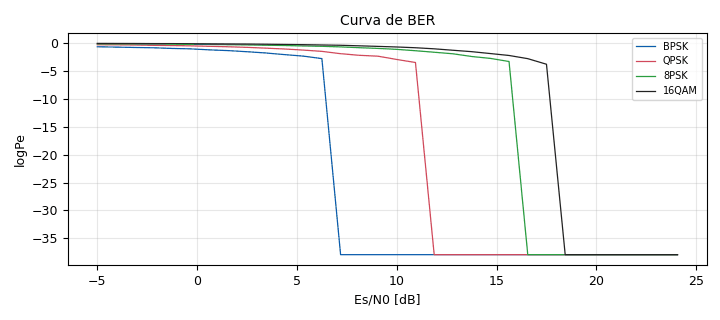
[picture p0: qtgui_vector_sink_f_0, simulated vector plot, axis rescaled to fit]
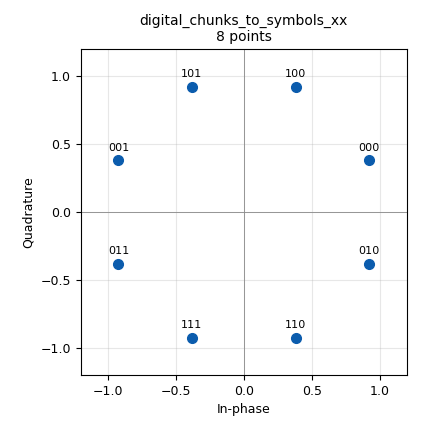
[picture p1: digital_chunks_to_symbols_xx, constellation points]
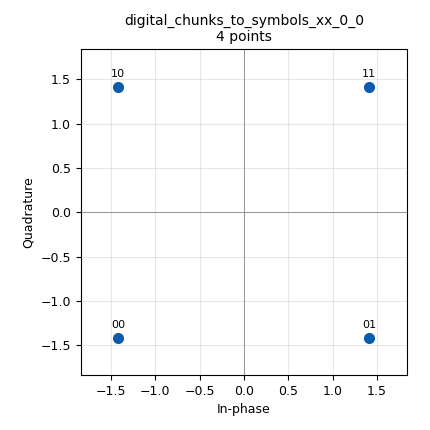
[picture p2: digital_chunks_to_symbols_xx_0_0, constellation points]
options:
  parameters:
    author: Homero Ortega Boada
    category: Custom
    description: Dale un valor a Es/No, corre el flujograma y obten la SER. Puedes sacar tantos valores como para construir una curva de SER
    generate_options: qt_gui
    id: ser_simulation
    output_language: python
    run: run_stop
    title: SER Simulation
  states: {}

blocks:
- name: EsN0max
  id: variable
  parameters:
    value: '25.'
  states: {}
- name: EsN0min
  id: variable
  parameters:
    value: '-5.'
  states: {}
- name: M0
  id: variable
  parameters:
    value: len(const0)
  states: {}
- name: M1
  id: variable
  parameters:
    value: len(const1)
  states: {}
- name: M2
  id: variable
  parameters:
    value: len(const2)
  states: {}
- name: M3
  id: variable
  parameters:
    value: len(const3)
  states: {}
- name: MaxCount
  id: variable
  parameters:
    value: int(1e7)
  states: {}
- name: MaxErrors
  id: variable
  parameters:
    value: '1000'
  states: {}
- name: MiconstellationObject0
  id: variable_constellation
  parameters:
    const_points: const0
    dims: '1'
    normalization: digital.constellation.AMPLITUDE_NORMALIZATION
    precision: '8'
    rot_sym: '4'
    sym_map: np.arange(M0)
    type: calcdist
  states: {}
- name: MiconstellationObject1
  id: variable_constellation
  parameters:
    const_points: const1
    dims: '1'
    normalization: digital.constellation.AMPLITUDE_NORMALIZATION
    precision: '8'
    rot_sym: '4'
    sym_map: np.arange(M1)
    type: calcdist
  states: {}
- name: MiconstellationObject2
  id: variable_constellation
  parameters:
    const_points: const2
    dims: '1'
    normalization: digital.constellation.AMPLITUDE_NORMALIZATION
    precision: '8'
    rot_sym: '4'
    sym_map: np.arange(M2)
    type: calcdist
  states: {}
- name: MiconstellationObject3
  id: variable_constellation
  parameters:
    const_points: const3
    dims: '1'
    normalization: digital.constellation.AMPLITUDE_NORMALIZATION
    precision: '8'
    rot_sym: '4'
    sym_map: np.arange(M3)
    type: calcdist
  states: {}
- name: N_snr
  id: variable
  parameters:
    value: '32'
  states: {}
- name: Rs
  id: variable
  parameters:
    value: samp_rate/Sps
  states: {}
- name: Sps
  id: variable
  parameters:
    value: '1'
  states: {}
- name: const
  id: variable
  parameters:
    value: digital.constellation_bpsk().points()
  states: {state: disabled}
- name: const
  id: variable
  parameters:
    value: digital.qam_constellation(16).points()
  states: {state: disabled}
- name: const0
  id: variable
  parameters:
    value: digital.constellation_bpsk().points()
  states: {}
- name: const1
  id: variable
  parameters:
    value: digital.constellation_qpsk().points()
  states: {}
- name: const2
  id: variable
  parameters:
    value: digital.constellation_8psk().points()
  states: {}
- name: const3
  id: variable
  parameters:
    value: digital.qam_constellation(16).points()
  states: {}
- name: run_stop
  id: variable_qtgui_check_box
  parameters:
    'false': 'False'
    gui_hint: 0,0,1,1
    label: Inicial/Parar
    'true': 'True'
    type: int
    value: 'True'
  states: {}
- name: samp_rate
  id: variable
  parameters:
    value: 100e3
  states: {}
- name: analog_random_source_x
  id: analog_random_source_x
  parameters:
    max: M2
    min: '0'
    num_samps: '10000000'
    repeat: 'True'
    type: byte
  states: {}
- name: analog_random_source_x_0
  id: analog_random_source_x
  parameters:
    max: M3
    min: '0'
    num_samps: '10000000'
    repeat: 'True'
    type: byte
  states: {}
- name: analog_random_source_x_0_0
  id: analog_random_source_x
  parameters:
    max: M1
    min: '0'
    num_samps: '10000000'
    repeat: 'True'
    type: byte
  states: {}
- name: analog_random_source_x_1
  id: analog_random_source_x
  parameters:
    max: M0
    min: '0'
    num_samps: '10000000'
    repeat: 'True'
    type: byte
  states: {}
- name: blocks_nlog10_ff_0
  id: blocks_nlog10_ff
  parameters:
    k: '0'
    n: '1'
    vlen: N_snr
  states: {}
- name: blocks_nlog10_ff_0_0
  id: blocks_nlog10_ff
  parameters:
    k: '0'
    n: '1'
    vlen: N_snr
  states: {}
- name: blocks_nlog10_ff_0_1
  id: blocks_nlog10_ff
  parameters:
    k: '0'
    n: '1'
    vlen: N_snr
  states: {}
- name: blocks_nlog10_ff_0_2
  id: blocks_nlog10_ff
  parameters:
    k: '0'
    n: '1'
    vlen: N_snr
  states: {}
- name: blocks_stream_to_vector_0
  id: blocks_stream_to_vector
  parameters:
    num_items: N_snr
    type: complex
  states: {}
- name: blocks_stream_to_vector_0_0
  id: blocks_stream_to_vector
  parameters:
    num_items: N_snr
    type: complex
  states: {}
- name: blocks_stream_to_vector_0_0_0
  id: blocks_stream_to_vector
  parameters:
    num_items: N_snr
    type: complex
  states: {}
- name: blocks_stream_to_vector_0_1
  id: blocks_stream_to_vector
  parameters:
    num_items: N_snr
    type: complex
  states: {}
- name: blocks_stream_to_vector_0_1_0
  id: blocks_stream_to_vector
  parameters:
    num_items: N_snr
    type: byte
  states: {}
- name: blocks_stream_to_vector_0_1_0_0
  id: blocks_stream_to_vector
  parameters:
    num_items: N_snr
    type: byte
  states: {}
- name: blocks_stream_to_vector_0_1_0_1
  id: blocks_stream_to_vector
  parameters:
    num_items: N_snr
    type: byte
  states: {}
- name: blocks_stream_to_vector_0_1_0_2
  id: blocks_stream_to_vector
  parameters:
    num_items: N_snr
    type: byte
  states: {}
- name: blocks_stream_to_vector_0_1_1
  id: blocks_stream_to_vector
  parameters:
    num_items: N_snr
    type: byte
  states: {}
- name: blocks_stream_to_vector_0_1_1_0
  id: blocks_stream_to_vector
  parameters:
    num_items: N_snr
    type: byte
  states: {}
- name: blocks_stream_to_vector_0_1_1_1
  id: blocks_stream_to_vector
  parameters:
    num_items: N_snr
    type: byte
  states: {}
- name: blocks_stream_to_vector_0_1_1_2
  id: blocks_stream_to_vector
  parameters:
    num_items: N_snr
    type: byte
  states: {}
- name: blocks_vector_to_stream_0
  id: blocks_vector_to_stream
  parameters:
    num_items: N_snr
    type: complex
  states: {}
- name: blocks_vector_to_stream_0_0
  id: blocks_vector_to_stream
  parameters:
    num_items: N_snr
    type: complex
  states: {}
- name: blocks_vector_to_stream_0_1
  id: blocks_vector_to_stream
  parameters:
    num_items: N_snr
    type: complex
  states: {}
- name: blocks_vector_to_stream_0_2
  id: blocks_vector_to_stream
  parameters:
    num_items: N_snr
    type: complex
  states: {}
- name: digital_chunks_to_symbols_xx
  id: digital_chunks_to_symbols_xx
  parameters:
    dimension: '1'
    in_type: byte
    out_type: complex
    symbol_table: const2
  states: {}
- name: digital_chunks_to_symbols_xx_0
  id: digital_chunks_to_symbols_xx
  parameters:
    dimension: '1'
    in_type: byte
    out_type: complex
    symbol_table: const3
  states: {}
- name: digital_chunks_to_symbols_xx_0_0
  id: digital_chunks_to_symbols_xx
  parameters:
    dimension: '1'
    in_type: byte
    out_type: complex
    symbol_table: const1
  states: {}
- name: digital_chunks_to_symbols_xx_1
  id: digital_chunks_to_symbols_xx
  parameters:
    dimension: '1'
    in_type: byte
    out_type: complex
    symbol_table: const0
  states: {}
- name: digital_constellation_decoder_cb_0
  id: digital_constellation_decoder_cb
  parameters:
    constellation: MiconstellationObject3
  states: {}
- name: digital_constellation_decoder_cb_0_0
  id: digital_constellation_decoder_cb
  parameters:
    constellation: MiconstellationObject2
  states: {}
- name: digital_constellation_decoder_cb_0_0_0
  id: digital_constellation_decoder_cb
  parameters:
    constellation: MiconstellationObject0
  states: {}
- name: digital_constellation_decoder_cb_0_1
  id: digital_constellation_decoder_cb
  parameters:
    constellation: MiconstellationObject1
  states: {}
- name: epy_block_0
  id: epy_block
  parameters:
    EsN0max: EsN0max
    EsN0min: EsN0min
    N: N_snr
    Rs: Rs
    Sps: Sps
    _source_code: |
      """
      Embedded Python Blocks:

      Each time this file is saved, GRC will instantiate the first class it finds
      to get ports and parameters of your block. The arguments to __init__  will
      be the parameters. All of them are required to have default values!
      """

      import numpy as np
      import math
      from gnuradio import gr


      class blk(gr.sync_block):  # other base classes are basic_block, decim_block, interp_block
          """
      Es un canal AWGN (Additive White Gaussian Noise, en banda base), con entrada vectorial. Recibe la envolvente compleja de una senal con modulacion digital. Entrega la misma senal recibida pero con ruido blanco gausiano aditivo con diferentes valores de potencia que corresponden a N diferentes valores de Es/No entre EsNOmin y EsN0max (valores dados en dB). Este bloque se diferencia de otros bloques tradicionales de canal AWGN en lo siguiente: Tiene internamente una funcion que mide la potencia promedio de la senal entrante Ps, de modo que puede calcular Es=Ps/Rs; de esa manera puede N valores de potencia Pn para el ruido Pn para lograr los N valores de la relacion Es/No. Con esto ha completado el primer ensayo para que otro sea el bloque que calcule la Curva de SER. Pero alli no para, sino que sigue realizando tantos ensayos como lo permita el tiempo de simulacion, para que el bloque que calcula la Curva de BER la pueda ir perfeccionando cada vez mas.

      Datos de configuracion del bloque:
      N: Es la longitud del vector y coincide con el numero de puntos discretos que va a tener la curva de BER. Tambien corresponde al numero de valores que tomará la relacion Es/No
      EsN0min: El minimo valor a tener en cuenta para Es/No
      EsN0max: El maximo valor a tener en cuenta para Es/No
      Rs: es la rata de simbolos.
      Sps: El numero de muestras por simbolo. Usualmente es 1, pero pueden darse excepciones. 
      Es: es la energia de un simbolo

      Algunas variables internas son:
      No: es la Densidad espectral del potencia del ruido blanco.
      SNR: es la relacion senal a ruido
      """


          def __init__(self, N=32, EsN0min=0, EsN0max=16,Sps=1,Rs=1):  # only default arguments here
              """ """
              gr.sync_block.__init__(
                  self,
                  name='e_SER_Channel',   # will show up in GRC
                  in_sig=[(np.complex64,N)],
                  out_sig=[(np.complex64,N)]
              )
              samp_rate=Rs*Sps
              EsN0dB=np.linspace(EsN0min,EsN0max,N)
              EsN0=pow(10.,EsN0dB/10.) 
              self.SNR=EsN0*Rs/samp_rate
              
              
          def work(self, input_items, output_items):
              L=len(input_items[0]) # la entrada en una matrix de L filas y N columnas
              SNR_matrix=np.array([self.SNR]*L) # convertimos SNR a matrix
              P_s=np.mean(np.absolute(input_items[0])**2)  # La potencia de la senal
              P_n = P_s/SNR_matrix                    # la potencia del ruido
              output_items[0][:] = input_items[0]+noise_c(np.sqrt(P_n))
              #output_items[0][:] = input_items[0]*1.5
              return len(output_items[0])
              
      def noise_c(Vrms):
          # random.normal() pide la desviacion standard pero es el mismo Valor RMS
          # Vrms es el Valor RMS de la Envolvente compleja del ruido, pero la vamos
          # a generar como un ruido real mas un ruido imaginario. Pero esas dos
          # senales tienen un valor RMS un tanto diferente: Vrms_q=Vrms/math.sqrt(2.)
          Vrms_q= Vrms/math.sqrt(2.)
          n= np.random.normal(0.,Vrms_q)+np.random.normal(0.,Vrms_q)*1.j
          return n 
  states: {}
- name: epy_block_0_0
  id: epy_block
  parameters:
    EsN0max: EsN0max
    EsN0min: EsN0min
    N: N_snr
    Rs: Rs
    Sps: Sps
    _source_code: |
      """
      Embedded Python Blocks:

      Each time this file is saved, GRC will instantiate the first class it finds
      to get ports and parameters of your block. The arguments to __init__  will
      be the parameters. All of them are required to have default values!
      """

      import numpy as np
      import math
      from gnuradio import gr


      class blk(gr.sync_block):  # other base classes are basic_block, decim_block, interp_block
          """
      Es un canal AWGN (Additive White Gaussian Noise, en banda base), con entrada vectorial. Recibe la envolvente compleja de una senal con modulacion digital. Entrega la misma senal recibida pero con ruido blanco gausiano aditivo con diferentes valores de potencia que corresponden a N diferentes valores de Es/No entre EsNOmin y EsN0max (valores dados en dB). Este bloque se diferencia de otros bloques tradicionales de canal AWGN en lo siguiente: Tiene internamente una funcion que mide la potencia promedio de la senal entrante Ps, de modo que puede calcular Es=Ps/Rs; de esa manera puede N valores de potencia Pn para el ruido Pn para lograr los N valores de la relacion Es/No. Con esto ha completado el primer ensayo para que otro sea el bloque que calcule la Curva de SER. Pero alli no para, sino que sigue realizando tantos ensayos como lo permita el tiempo de simulacion, para que el bloque que calcula la Curva de BER la pueda ir perfeccionando cada vez mas.

      Datos de configuracion del bloque:
      N: Es la longitud del vector y coincide con el numero de puntos discretos que va a tener la curva de BER. Tambien corresponde al numero de valores que tomará la relacion Es/No
      EsN0min: El minimo valor a tener en cuenta para Es/No
      EsN0max: El maximo valor a tener en cuenta para Es/No
      Rs: es la rata de simbolos.
      Sps: El numero de muestras por simbolo. Usualmente es 1, pero pueden darse excepciones. 
      Es: es la energia de un simbolo

      Algunas variables internas son:
      No: es la Densidad espectral del potencia del ruido blanco.
      SNR: es la relacion senal a ruido
      """


          def __init__(self, N=32, EsN0min=0, EsN0max=16,Sps=1,Rs=1):  # only default arguments here
              """ """
              gr.sync_block.__init__(
                  self,
                  name='e_SER_Channel',   # will show up in GRC
                  in_sig=[(np.complex64,N)],
                  out_sig=[(np.complex64,N)]
              )
              samp_rate=Rs*Sps
              EsN0dB=np.linspace(EsN0min,EsN0max,N)
              EsN0=pow(10.,EsN0dB/10.) 
              self.SNR=EsN0*Rs/samp_rate
              
              
          def work(self, input_items, output_items):
              L=len(input_items[0]) # la entrada en una matrix de L filas y N columnas
              SNR_matrix=np.array([self.SNR]*L) # convertimos SNR a matrix
              P_s=np.mean(np.absolute(input_items[0])**2)  # La potencia de la senal
              P_n = P_s/SNR_matrix                    # la potencia del ruido
              output_items[0][:] = input_items[0]+noise_c(np.sqrt(P_n))
              #output_items[0][:] = input_items[0]*1.5
              return len(output_items[0])
              
      def noise_c(Vrms):
          # random.normal() pide la desviacion standard pero es el mismo Valor RMS
          # Vrms es el Valor RMS de la Envolvente compleja del ruido, pero la vamos
          # a generar como un ruido real mas un ruido imaginario. Pero esas dos
          # senales tienen un valor RMS un tanto diferente: Vrms_q=Vrms/math.sqrt(2.)
          Vrms_q= Vrms/math.sqrt(2.)
          n= np.random.normal(0.,Vrms_q)+np.random.normal(0.,Vrms_q)*1.j
          return n 
  states: {}
- name: epy_block_0_0_0
  id: epy_block
  parameters:
    EsN0max: EsN0max
    EsN0min: EsN0min
    N: N_snr
    Rs: Rs
    Sps: Sps
    _source_code: |
      """
      Embedded Python Blocks:

      Each time this file is saved, GRC will instantiate the first class it finds
      to get ports and parameters of your block. The arguments to __init__  will
      be the parameters. All of them are required to have default values!
      """

      import numpy as np
      import math
      from gnuradio import gr


      class blk(gr.sync_block):  # other base classes are basic_block, decim_block, interp_block
          """
      Es un canal AWGN (Additive White Gaussian Noise, en banda base), con entrada vectorial. Recibe la envolvente compleja de una senal con modulacion digital. Entrega la misma senal recibida pero con ruido blanco gausiano aditivo con diferentes valores de potencia que corresponden a N diferentes valores de Es/No entre EsNOmin y EsN0max (valores dados en dB). Este bloque se diferencia de otros bloques tradicionales de canal AWGN en lo siguiente: Tiene internamente una funcion que mide la potencia promedio de la senal entrante Ps, de modo que puede calcular Es=Ps/Rs; de esa manera puede N valores de potencia Pn para el ruido Pn para lograr los N valores de la relacion Es/No. Con esto ha completado el primer ensayo para que otro sea el bloque que calcule la Curva de SER. Pero alli no para, sino que sigue realizando tantos ensayos como lo permita el tiempo de simulacion, para que el bloque que calcula la Curva de BER la pueda ir perfeccionando cada vez mas.

      Datos de configuracion del bloque:
      N: Es la longitud del vector y coincide con el numero de puntos discretos que va a tener la curva de BER. Tambien corresponde al numero de valores que tomará la relacion Es/No
      EsN0min: El minimo valor a tener en cuenta para Es/No
      EsN0max: El maximo valor a tener en cuenta para Es/No
      Rs: es la rata de simbolos.
      Sps: El numero de muestras por simbolo. Usualmente es 1, pero pueden darse excepciones. 
      Es: es la energia de un simbolo

      Algunas variables internas son:
      No: es la Densidad espectral del potencia del ruido blanco.
      SNR: es la relacion senal a ruido
      """


          def __init__(self, N=32, EsN0min=0, EsN0max=16,Sps=1,Rs=1):  # only default arguments here
              """ """
              gr.sync_block.__init__(
                  self,
                  name='e_SER_Channel',   # will show up in GRC
                  in_sig=[(np.complex64,N)],
                  out_sig=[(np.complex64,N)]
              )
              samp_rate=Rs*Sps
              EsN0dB=np.linspace(EsN0min,EsN0max,N)
              EsN0=pow(10.,EsN0dB/10.) 
              self.SNR=EsN0*Rs/samp_rate
              
              
          def work(self, input_items, output_items):
              L=len(input_items[0]) # la entrada en una matrix de L filas y N columnas
              SNR_matrix=np.array([self.SNR]*L) # convertimos SNR a matrix
              P_s=np.mean(np.absolute(input_items[0])**2)  # La potencia de la senal
              P_n = P_s/SNR_matrix                    # la potencia del ruido
              output_items[0][:] = input_items[0]+noise_c(np.sqrt(P_n))
              #output_items[0][:] = input_items[0]*1.5
              return len(output_items[0])
              
      def noise_c(Vrms):
          # random.normal() pide la desviacion standard pero es el mismo Valor RMS
          # Vrms es el Valor RMS de la Envolvente compleja del ruido, pero la vamos
          # a generar como un ruido real mas un ruido imaginario. Pero esas dos
          # senales tienen un valor RMS un tanto diferente: Vrms_q=Vrms/math.sqrt(2.)
          Vrms_q= Vrms/math.sqrt(2.)
          n= np.random.normal(0.,Vrms_q)+np.random.normal(0.,Vrms_q)*1.j
          return n 
  states: {}
- name: epy_block_0_0_0_0
  id: epy_block
  parameters:
    EsN0max: EsN0max
    EsN0min: EsN0min
    N: N_snr
    Rs: Rs
    Sps: Sps
    _source_code: |
      """
      Embedded Python Blocks:

      Each time this file is saved, GRC will instantiate the first class it finds
      to get ports and parameters of your block. The arguments to __init__  will
      be the parameters. All of them are required to have default values!
      """

      import numpy as np
      import math
      from gnuradio import gr


      class blk(gr.sync_block):  # other base classes are basic_block, decim_block, interp_block
          """
      Es un canal AWGN (Additive White Gaussian Noise, en banda base), con entrada vectorial. Recibe la envolvente compleja de una senal con modulacion digital. Entrega la misma senal recibida pero con ruido blanco gausiano aditivo con diferentes valores de potencia que corresponden a N diferentes valores de Es/No entre EsNOmin y EsN0max (valores dados en dB). Este bloque se diferencia de otros bloques tradicionales de canal AWGN en lo siguiente: Tiene internamente una funcion que mide la potencia promedio de la senal entrante Ps, de modo que puede calcular Es=Ps/Rs; de esa manera puede N valores de potencia Pn para el ruido Pn para lograr los N valores de la relacion Es/No. Con esto ha completado el primer ensayo para que otro sea el bloque que calcule la Curva de SER. Pero alli no para, sino que sigue realizando tantos ensayos como lo permita el tiempo de simulacion, para que el bloque que calcula la Curva de BER la pueda ir perfeccionando cada vez mas.

      Datos de configuracion del bloque:
      N: Es la longitud del vector y coincide con el numero de puntos discretos que va a tener la curva de BER. Tambien corresponde al numero de valores que tomará la relacion Es/No
      EsN0min: El minimo valor a tener en cuenta para Es/No
      EsN0max: El maximo valor a tener en cuenta para Es/No
      Rs: es la rata de simbolos.
      Sps: El numero de muestras por simbolo. Usualmente es 1, pero pueden darse excepciones. 
      Es: es la energia de un simbolo

      Algunas variables internas son:
      No: es la Densidad espectral del potencia del ruido blanco.
      SNR: es la relacion senal a ruido
      """


          def __init__(self, N=32, EsN0min=0, EsN0max=16,Sps=1,Rs=1):  # only default arguments here
              """ """
              gr.sync_block.__init__(
                  self,
                  name='e_SER_Channel',   # will show up in GRC
                  in_sig=[(np.complex64,N)],
                  out_sig=[(np.complex64,N)]
              )
              samp_rate=Rs*Sps
              EsN0dB=np.linspace(EsN0min,EsN0max,N)
              EsN0=pow(10.,EsN0dB/10.) 
              self.SNR=EsN0*Rs/samp_rate
              
              
          def work(self, input_items, output_items):
              L=len(input_items[0]) # la entrada en una matrix de L filas y N columnas
              SNR_matrix=np.array([self.SNR]*L) # convertimos SNR a matrix
              P_s=np.mean(np.absolute(input_items[0])**2)  # La potencia de la senal
              P_n = P_s/SNR_matrix                    # la potencia del ruido
              output_items[0][:] = input_items[0]+noise_c(np.sqrt(P_n))
              #output_items[0][:] = input_items[0]*1.5
              return len(output_items[0])
              
      def noise_c(Vrms):
          # random.normal() pide la desviacion standard pero es el mismo Valor RMS
          # Vrms es el Valor RMS de la Envolvente compleja del ruido, pero la vamos
          # a generar como un ruido real mas un ruido imaginario. Pero esas dos
          # senales tienen un valor RMS un tanto diferente: Vrms_q=Vrms/math.sqrt(2.)
          Vrms_q= Vrms/math.sqrt(2.)
          n= np.random.normal(0.,Vrms_q)+np.random.normal(0.,Vrms_q)*1.j
          return n 
  states: {}
- name: epy_block_1_3
  id: epy_block
  parameters:
    N: '32'
    _source_code: |
      """
      Embedded Python Blocks:

      Each time this file is saved, GRC will instantiate the first class it finds
      to get ports and parameters of your block. The arguments to __init__  will
      be the parameters. All of them are required to have default values!
      """

      import numpy as np
      from gnuradio import gr


      class blk(gr.sync_block):  # other base classes are basic_block, decim_block, interp_block
          """sss"""

          def __init__(self, N=32):  # only default arguments here
              """ """
              gr.sync_block.__init__(
                  self,
                  name='e_SERtool',   # will show up in GRC
                  in_sig=[(np.int8,N),(np.int8,N)],
                  out_sig=[(np.float32,N)]
              )
              
              # N: Una curva de SER tiene N puntos
              # cada vez que se procesan N puntos es un ensayo
              # count: cuenta los ensayos procesados
              # errores: vector de N valores para contar errores en
              # cada punto de la SER a medida que ocurren nuevos ensayos.
              
              self.N=N
              self.errors_N = np.zeros(self.N) 
              self.count_trials=int(1) 
              
          def work(self, input_items, output_items):
              # in0  y in1: son matrices de LxN
              # L: numero de vectores  de N elementos de matrix LxN
              # osea, vamos a procesar a la vez L curvas de SER y cada una tiene N puntos
                                      
              in0=input_items[0]
              in1=input_items[1]
              out=output_items[0]
              L=len(in0) 
              self.count_trials +=L # ajusta la cantidad de curvas ya procesadas
              
              errores_LxN = (in0!=in1).astype(int) # deteccion de errores en toda la matrix LxN
              self.errors_N += np.sum(errores_LxN, axis=0) # vector acumula suma de columnas de matrix
              SER = self.errors_N/self.count_trials # obtengo la SER como un vector
              
              out[:]=SER # lleno la matrix out con el vector SER, entonces una SER
                         # sale L veces pero el ojo humano no lo notará
              return len(output_items[0])
  states: {}
- name: epy_block_1_3_0
  id: epy_block
  parameters:
    N: '32'
    _source_code: |
      """
      Embedded Python Blocks:

      Each time this file is saved, GRC will instantiate the first class it finds
      to get ports and parameters of your block. The arguments to __init__  will
      be the parameters. All of them are required to have default values!
      """

      import numpy as np
      from gnuradio import gr


      class blk(gr.sync_block):  # other base classes are basic_block, decim_block, interp_block
          """sss"""

          def __init__(self, N=32):  # only default arguments here
              """ """
              gr.sync_block.__init__(
                  self,
                  name='e_SERtool',   # will show up in GRC
                  in_sig=[(np.int8,N),(np.int8,N)],
                  out_sig=[(np.float32,N)]
              )
              
              # N: Una curva de SER tiene N puntos
              # cada vez que se procesan N puntos es un ensayo
              # count: cuenta los ensayos procesados
              # errores: vector de N valores para contar errores en
              # cada punto de la SER a medida que ocurren nuevos ensayos.
              
              self.N=N
              self.errors_N = np.zeros(self.N) 
              self.count_trials=int(1) 
              
          def work(self, input_items, output_items):
              # in0  y in1: son matrices de LxN
              # L: numero de vectores  de N elementos de matrix LxN
              # osea, vamos a procesar a la vez L curvas de SER y cada una tiene N puntos
                                      
              in0=input_items[0]
              in1=input_items[1]
              out=output_items[0]
              L=len(in0) 
              self.count_trials +=L # ajusta la cantidad de curvas ya procesadas
              
              errores_LxN = (in0!=in1).astype(int) # deteccion de errores en toda la matrix LxN
              self.errors_N += np.sum(errores_LxN, axis=0) # vector acumula suma de columnas de matrix
              SER = self.errors_N/self.count_trials # obtengo la SER como un vector
              
              out[:]=SER # lleno la matrix out con el vector SER, entonces una SER
                         # sale L veces pero el ojo humano no lo notará
              return len(output_items[0])
  states: {}
- name: epy_block_1_3_0_0
  id: epy_block
  parameters:
    N: '32'
    _source_code: |
      """
      Embedded Python Blocks:

      Each time this file is saved, GRC will instantiate the first class it finds
      to get ports and parameters of your block. The arguments to __init__  will
      be the parameters. All of them are required to have default values!
      """

      import numpy as np
      from gnuradio import gr


      class blk(gr.sync_block):  # other base classes are basic_block, decim_block, interp_block
          """sss"""

          def __init__(self, N=32):  # only default arguments here
              """ """
              gr.sync_block.__init__(
                  self,
                  name='e_SERtool',   # will show up in GRC
                  in_sig=[(np.int8,N),(np.int8,N)],
                  out_sig=[(np.float32,N)]
              )
              
              # N: Una curva de SER tiene N puntos
              # cada vez que se procesan N puntos es un ensayo
              # count: cuenta los ensayos procesados
              # errores: vector de N valores para contar errores en
              # cada punto de la SER a medida que ocurren nuevos ensayos.
              
              self.N=N
              self.errors_N = np.zeros(self.N) 
              self.count_trials=int(1) 
              
          def work(self, input_items, output_items):
              # in0  y in1: son matrices de LxN
              # L: numero de vectores  de N elementos de matrix LxN
              # osea, vamos a procesar a la vez L curvas de SER y cada una tiene N puntos
                                      
              in0=input_items[0]
              in1=input_items[1]
              out=output_items[0]
              L=len(in0) 
              self.count_trials +=L # ajusta la cantidad de curvas ya procesadas
              
              errores_LxN = (in0!=in1).astype(int) # deteccion de errores en toda la matrix LxN
              self.errors_N += np.sum(errores_LxN, axis=0) # vector acumula suma de columnas de matrix
              SER = self.errors_N/self.count_trials # obtengo la SER como un vector
              
              out[:]=SER # lleno la matrix out con el vector SER, entonces una SER
                         # sale L veces pero el ojo humano no lo notará
              return len(output_items[0])
  states: {}
- name: epy_block_1_3_1
  id: epy_block
  parameters:
    N: '32'
    _source_code: |
      """
      Embedded Python Blocks:

      Each time this file is saved, GRC will instantiate the first class it finds
      to get ports and parameters of your block. The arguments to __init__  will
      be the parameters. All of them are required to have default values!
      """

      import numpy as np
      from gnuradio import gr


      class blk(gr.sync_block):  # other base classes are basic_block, decim_block, interp_block
          """sss"""

          def __init__(self, N=32):  # only default arguments here
              """ """
              gr.sync_block.__init__(
                  self,
                  name='e_SERtool',   # will show up in GRC
                  in_sig=[(np.int8,N),(np.int8,N)],
                  out_sig=[(np.float32,N)]
              )
              
              # N: Una curva de SER tiene N puntos
              # cada vez que se procesan N puntos es un ensayo
              # count: cuenta los ensayos procesados
              # errores: vector de N valores para contar errores en
              # cada punto de la SER a medida que ocurren nuevos ensayos.
              
              self.N=N
              self.errors_N = np.zeros(self.N) 
              self.count_trials=int(1) 
              
          def work(self, input_items, output_items):
              # in0  y in1: son matrices de LxN
              # L: numero de vectores  de N elementos de matrix LxN
              # osea, vamos a procesar a la vez L curvas de SER y cada una tiene N puntos
                                      
              in0=input_items[0]
              in1=input_items[1]
              out=output_items[0]
              L=len(in0) 
              self.count_trials +=L # ajusta la cantidad de curvas ya procesadas
              
              errores_LxN = (in0!=in1).astype(int) # deteccion de errores en toda la matrix LxN
              self.errors_N += np.sum(errores_LxN, axis=0) # vector acumula suma de columnas de matrix
              SER = self.errors_N/self.count_trials # obtengo la SER como un vector
              
              out[:]=SER # lleno la matrix out con el vector SER, entonces una SER
                         # sale L veces pero el ojo humano no lo notará
              return len(output_items[0])
  states: {}
- name: import
  id: import
  parameters:
    imports: import math
  states: {}
- name: import_0
  id: import
  parameters:
    imports: import numpy as np
  states: {}
- name: qtgui_const_sink_x_0
  id: qtgui_const_sink_x
  parameters:
    alpha1: '0.6'
    gui_hint: 1,2,1,1
    label1: Rx
    label2: Tx
    name: '"Constelacion"'
    nconnections: '2'
    size: '1024'
    type: complex
  states: {state: disabled}
- name: qtgui_vector_sink_f_0
  id: qtgui_vector_sink_f
  parameters:
    alpha1: '1'
    gui_hint: 2,0,1,1
    label1: '"BPSK"'
    label2: '"QPSK"'
    label3: 8PSK
    label4: '"16QAM"'
    name: '"Curva de BER"'
    nconnections: '4'
    showports: 'True'
    vlen: N_snr
    width1: '4'
    width2: '4'
    width3: '4'
    width4: '4'
    x_axis_label: '"Es/N0 [dB]"'
    x_start: EsN0min
    x_step: (EsN0max-EsN0min)/float(N_snr)
    x_units: '"dB"'
    y_axis_label: '"logPe"'
    ymax: '0'
    ymin: '-8'
  states: {}
- name: virtual_source_0
  id: virtual_source
  parameters:
    stream_id: TX3
  states: {}
- name: virtual_source_0_0
  id: virtual_source
  parameters:
    stream_id: RX3
  states: {}
- name: virtual_source_0_0_0
  id: virtual_source
  parameters:
    stream_id: RX2
  states: {}
- name: virtual_source_0_0_0_0
  id: virtual_source
  parameters:
    stream_id: RX0
  states: {}
- name: virtual_source_0_0_1
  id: virtual_source
  parameters:
    stream_id: RX1
  states: {}
- name: virtual_source_0_1
  id: virtual_source
  parameters:
    stream_id: TX2
  states: {}
- name: virtual_source_0_1_0
  id: virtual_source
  parameters:
    stream_id: TX0
  states: {}
- name: virtual_source_0_2
  id: virtual_source
  parameters:
    stream_id: TX1
  states: {}
- name: vs0
  id: virtual_sink
  parameters:
    stream_id: TX2
  states: {}
- name: vs0_0
  id: virtual_sink
  parameters:
    stream_id: TX3
  states: {}
- name: vs0_0_0
  id: virtual_sink
  parameters:
    stream_id: TX1
  states: {}
- name: vs0_1
  id: virtual_sink
  parameters:
    stream_id: TX0
  states: {}
- name: vs1
  id: virtual_sink
  parameters:
    stream_id: RX3
  states: {}
- name: vs1_0
  id: virtual_sink
  parameters:
    stream_id: RX2
  states: {}
- name: vs1_0_0
  id: virtual_sink
  parameters:
    stream_id: RX0
  states: {}
- name: vs1_1
  id: virtual_sink
  parameters:
    stream_id: RX1
  states: {}
- name: vs6
  id: virtual_source
  parameters:
    stream_id: RX2
  states: {state: disabled}
- name: vs6_0
  id: virtual_source
  parameters:
    stream_id: TX2
  states: {state: disabled}

connections:
- [analog_random_source_x, '0', digital_chunks_to_symbols_xx, '0']
- [analog_random_source_x, '0', vs0, '0']
- [analog_random_source_x_0, '0', digital_chunks_to_symbols_xx_0, '0']
- [analog_random_source_x_0, '0', vs0_0, '0']
- [analog_random_source_x_0_0, '0', digital_chunks_to_symbols_xx_0_0, '0']
- [analog_random_source_x_0_0, '0', vs0_0_0, '0']
- [analog_random_source_x_1, '0', digital_chunks_to_symbols_xx_1, '0']
- [analog_random_source_x_1, '0', vs0_1, '0']
- [blocks_nlog10_ff_0, '0', qtgui_vector_sink_f_0, '0']
- [blocks_nlog10_ff_0_0, '0', qtgui_vector_sink_f_0, '1']
- [blocks_nlog10_ff_0_1, '0', qtgui_vector_sink_f_0, '2']
- [blocks_nlog10_ff_0_2, '0', qtgui_vector_sink_f_0, '3']
- [blocks_stream_to_vector_0, '0', epy_block_0, '0']
- [blocks_stream_to_vector_0_0, '0', epy_block_0_0, '0']
- [blocks_stream_to_vector_0_0_0, '0', epy_block_0_0_0_0, '0']
- [blocks_stream_to_vector_0_1, '0', epy_block_0_0_0, '0']
- [blocks_stream_to_vector_0_1_0, '0', epy_block_1_3, '1']
- [blocks_stream_to_vector_0_1_0_0, '0', epy_block_1_3_0, '1']
- [blocks_stream_to_vector_0_1_0_1, '0', epy_block_1_3_1, '1']
- [blocks_stream_to_vector_0_1_0_2, '0', epy_block_1_3_0_0, '1']
- [blocks_stream_to_vector_0_1_1, '0', epy_block_1_3, '0']
- [blocks_stream_to_vector_0_1_1_0, '0', epy_block_1_3_0, '0']
- [blocks_stream_to_vector_0_1_1_1, '0', epy_block_1_3_1, '0']
- [blocks_stream_to_vector_0_1_1_2, '0', epy_block_1_3_0_0, '0']
- [blocks_vector_to_stream_0, '0', digital_constellation_decoder_cb_0_0_0, '0']
- [blocks_vector_to_stream_0_0, '0', digital_constellation_decoder_cb_0_1, '0']
- [blocks_vector_to_stream_0_1, '0', digital_constellation_decoder_cb_0_0, '0']
- [blocks_vector_to_stream_0_2, '0', digital_constellation_decoder_cb_0, '0']
- [digital_chunks_to_symbols_xx, '0', blocks_stream_to_vector_0_1, '0']
- [digital_chunks_to_symbols_xx_0, '0', blocks_stream_to_vector_0_0_0, '0']
- [digital_chunks_to_symbols_xx_0_0, '0', blocks_stream_to_vector_0_0, '0']
- [digital_chunks_to_symbols_xx_1, '0', blocks_stream_to_vector_0, '0']
- [digital_constellation_decoder_cb_0, '0', vs1, '0']
- [digital_constellation_decoder_cb_0_0, '0', vs1_0, '0']
- [digital_constellation_decoder_cb_0_0_0, '0', vs1_0_0, '0']
- [digital_constellation_decoder_cb_0_1, '0', vs1_1, '0']
- [epy_block_0, '0', blocks_vector_to_stream_0, '0']
- [epy_block_0_0, '0', blocks_vector_to_stream_0_0, '0']
- [epy_block_0_0_0, '0', blocks_vector_to_stream_0_1, '0']
- [epy_block_0_0_0_0, '0', blocks_vector_to_stream_0_2, '0']
- [epy_block_1_3, '0', blocks_nlog10_ff_0, '0']
- [epy_block_1_3_0, '0', blocks_nlog10_ff_0_0, '0']
- [epy_block_1_3_0_0, '0', blocks_nlog10_ff_0_2, '0']
- [epy_block_1_3_1, '0', blocks_nlog10_ff_0_1, '0']
- [virtual_source_0, '0', blocks_stream_to_vector_0_1_1_2, '0']
- [virtual_source_0_0, '0', blocks_stream_to_vector_0_1_0_2, '0']
- [virtual_source_0_0_0, '0', blocks_stream_to_vector_0_1_0_1, '0']
- [virtual_source_0_0_0_0, '0', blocks_stream_to_vector_0_1_0, '0']
- [virtual_source_0_0_1, '0', blocks_stream_to_vector_0_1_0_0, '0']
- [virtual_source_0_1, '0', blocks_stream_to_vector_0_1_1_1, '0']
- [virtual_source_0_1_0, '0', blocks_stream_to_vector_0_1_1, '0']
- [virtual_source_0_2, '0', blocks_stream_to_vector_0_1_1_0, '0']
- [vs6, '0', qtgui_const_sink_x_0, '0']
- [vs6_0, '0', qtgui_const_sink_x_0, '1']

metadata:
  file_format: 1
